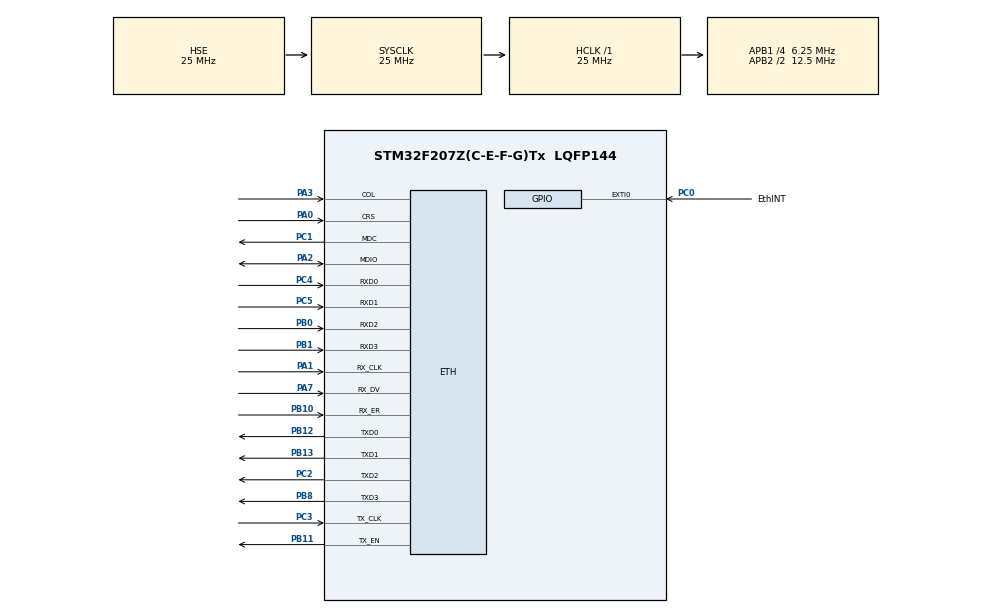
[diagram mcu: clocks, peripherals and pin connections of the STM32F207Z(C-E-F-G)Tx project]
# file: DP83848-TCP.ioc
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ETH.MediaInterface=ETH_MEDIA_INTERFACE_MII
LWIP.GATEWAY_ADDRESS=192.168.001.001
LWIP.IP_ADDRESS=192.168.001.011
LWIP.LWIP_DHCP=1
LWIP.LWIP_HTTPD=1
LWIP.LWIP_HTTPD_CGI=1
LWIP.LWIP_HTTPD_SSI=1
LWIP.MEMP_NUM_TCP_SEG=24
LWIP.NETMASK_ADDRESS=255.255.255.000
LWIP.TCP_MSS=460
LWIP.TCP_SND_BUF=1840
LWIP.TCP_WND=2048
LWIP.Version=v2.0.0_Cube
Mcu.Family=STM32F2
Mcu.Name=STM32F207Z(C-E-F-G)Tx
Mcu.Package=LQFP144
NVIC.EXTI0_IRQn=true\:0\:0\:false\:false\:true\:true
NVIC.PriorityGroup=NVIC_PRIORITYGROUP_4
NVIC.TIM2_IRQn=true\:0\:0\:false\:false\:true\:true
PA0-WKUP.Mode=MII
PA0-WKUP.Signal=ETH_CRS
PA1.Mode=MII
PA1.Signal=ETH_RX_CLK
PA13.Mode=Serial_Wire
PA13.Signal=SYS_JTMS-SWDIO
PA14.Mode=Serial_Wire
PA14.Signal=SYS_JTCK-SWCLK
PA2.Mode=MII
PA2.Signal=ETH_MDIO
PA3.Mode=MII
PA3.Signal=ETH_COL
PA7.Mode=MII
PA7.Signal=ETH_RX_DV
PB0.Mode=MII
PB0.Signal=ETH_RXD2
PB1.Mode=MII
PB1.Signal=ETH_RXD3
PB10.Mode=Activate Rx Err signal
PB10.Signal=ETH_RX_ER
PB11.Mode=MII
PB11.Signal=ETH_TX_EN
PB12.Mode=MII
PB12.Signal=ETH_TXD0
PB13.Mode=MII
PB13.Signal=ETH_TXD1
PB8.Mode=MII
PB8.Signal=ETH_TXD3
PC0.GPIO_Label=EthINT
PC0.GPIO_ModeDefaultEXTI=GPIO_MODE_IT_RISING_FALLING
PC0.Signal=GPXTI0
PC1.Mode=MII
PC1.Signal=ETH_MDC
PC2.Mode=MII
PC2.Signal=ETH_TXD2
PC3.Mode=MII
PC3.Signal=ETH_TX_CLK
PC4.Mode=MII
PC4.Signal=ETH_RXD0
PC5.Mode=MII
PC5.Signal=ETH_RXD1
PH0-OSC_IN.Mode=HSE-External-Oscillator
PH0-OSC_IN.Signal=RCC_OSC_IN
PH1-OSC_OUT.Mode=HSE-External-Oscillator
PH1-OSC_OUT.Signal=RCC_OSC_OUT
ProjectManager.HeapSize=0x2000
ProjectManager.StackSize=0x4000
ProjectManager.TargetToolchain=MDK-ARM V5
RCC.48MHZClocksFreq_Value=60000000
RCC.AHBFreq_Value=25000000
RCC.APB1CLKDivider=RCC_HCLK_DIV4
RCC.APB1Freq_Value=6250000
RCC.APB1TimFreq_Value=12500000
RCC.APB2CLKDivider=RCC_HCLK_DIV2
RCC.APB2Freq_Value=12500000
RCC.APB2TimFreq_Value=25000000
RCC.CortexFreq_Value=25000000
RCC.HCLKFreq_Value=25000000
RCC.HSE_VALUE=25000000
RCC.HSI_VALUE=16000000
RCC.LSE_VALUE=32768
RCC.PLLM=13
RCC.PLLN=195
RCC.SYSCLKFreq_VALUE=25000000
RCC.SYSCLKSource=RCC_SYSCLKSOURCE_HSE
RCC.VCOOutputFreq_Value=240000000
TIM2.Period=1000
TIM2.Prescaler=29999
TIM2.TIM_MasterOutputTrigger=TIM_TRGO_UPDATE
VP_LWIP_VS_Enabled.Mode=Enabled
VP_TIM2_VS_ClockSourceINT.Mode=Internal
board=custom

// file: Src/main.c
/**
  ******************************************************************************
  * @file           : main.c
  * @brief          : Main program body
  ******************************************************************************
  * This notice applies to any and all portions of this file
  * that are not between comment pairs USER CODE BEGIN and
  * USER CODE END. Other portions of this file, whether
  * inserted by the user or by software development tools
  * are owned by their respective copyright owners.
  *
  * Copyright (c) 2018 STMicroelectronics International N.V.
  * All rights reserved.
  *
  * Redistribution and use in source and binary forms, with or without
  * modification, are permitted, provided that the following conditions are met:
  *
  * 1. Redistribution of source code must retain the above copyright notice,
  *    this list of conditions and the following disclaimer.
  * 2. Redistributions in binary form must reproduce the above copyright notice,
  *    this list of conditions and the following disclaimer in the documentation
  *    and/or other materials provided with the distribution.
  * 3. Neither the name of STMicroelectronics nor the names of other
  *    contributors to this software may be used to endorse or promote products
  *    derived from this software without specific written permission.
  * 4. This software, including modifications and/or derivative works of this
  *    software, must execute solely and exclusively on microcontroller or
  *    microprocessor devices manufactured by or for STMicroelectronics.
  * 5. Redistribution and use of this software other than as permitted under
  *    this license is void and will automatically terminate your rights under
  *    this license.
  *
  * THIS SOFTWARE IS PROVIDED BY STMICROELECTRONICS AND CONTRIBUTORS "AS IS"
  * AND ANY EXPRESS, IMPLIED OR STATUTORY WARRANTIES, INCLUDING, BUT NOT
  * LIMITED TO, THE IMPLIED WARRANTIES OF MERCHANTABILITY, FITNESS FOR A
  * PARTICULAR PURPOSE AND NON-INFRINGEMENT OF THIRD PARTY INTELLECTUAL PROPERTY
  * RIGHTS ARE DISCLAIMED TO THE FULLEST EXTENT PERMITTED BY LAW. IN NO EVENT
  * SHALL STMICROELECTRONICS OR CONTRIBUTORS BE LIABLE FOR ANY DIRECT, INDIRECT,
  * INCIDENTAL, SPECIAL, EXEMPLARY, OR CONSEQUENTIAL DAMAGES (INCLUDING, BUT NOT
  * LIMITED TO, PROCUREMENT OF SUBSTITUTE GOODS OR SERVICES; LOSS OF USE, DATA,
  * OR PROFITS; OR BUSINESS INTERRUPTION) HOWEVER CAUSED AND ON ANY THEORY OF
  * LIABILITY, WHETHER IN CONTRACT, STRICT LIABILITY, OR TORT (INCLUDING
  * NEGLIGENCE OR OTHERWISE) ARISING IN ANY WAY OUT OF THE USE OF THIS SOFTWARE,
  * EVEN IF ADVISED OF THE POSSIBILITY OF SUCH DAMAGE.
  *
  ******************************************************************************
  */
#include "main.h"
#include "stm32f2xx_hal.h"
#include "lwip.h"
#include "tim.h"
#include "gpio.h"

/* USER CODE BEGIN Includes */
#include "net.h"
#include "app_ethernet.h"
#include "app_http.h"
/* USER CODE END Includes */

/* USER CODE BEGIN PV */
/* Private variables ---------------------------------------------------------*/
extern struct netif gnetif;

//uint32_t ETH_status;
/* USER CODE END PV */

void SystemClock_Config(void);

/* USER CODE BEGIN PFP */
/* Private function prototypes -----------------------------------------------*/

/* USER CODE END PFP */

/* USER CODE BEGIN 0 */
void Button_Init(void)
{
	GPIO_InitTypeDef GPIO_InitStruct;
	__HAL_RCC_GPIOG_CLK_ENABLE();
	__HAL_RCC_GPIOB_CLK_ENABLE();

	GPIO_InitStruct.Pin = GPIO_PIN_8;
	GPIO_InitStruct.Speed = GPIO_SPEED_FREQ_LOW;
	GPIO_InitStruct.Pull = GPIO_NOPULL;
	GPIO_InitStruct.Mode = GPIO_MODE_INPUT;

	HAL_GPIO_Init(GPIOG, &GPIO_InitStruct);
}
/* USER CODE END 0 */

int main(void)
{
  /* USER CODE BEGIN 1 */

	char str[30] = {"Hello from mk! \r\n"};
	uint8_t data_sent =  1;
	uint8_t sending_accepted = 0;
  /* USER CODE END 1 */

  /* MCU Configuration----------------------------------------------------------*/

  /* Reset of all peripherals, Initializes the Flash interface and the Systick. */
  HAL_Init();

  /* Configure the system clock */
  SystemClock_Config();

  /* Initialize all configured peripherals */
  MX_GPIO_Init();
  MX_TIM2_Init();
  MX_LWIP_Init();
  /* USER CODE BEGIN 2 */
	Button_Init();
	tcp_server_init();
	httpd_init();
	//http RX TX
	SSI_Init();
	CGI_Init();
	//net status
	User_notification(&gnetif);
  /* USER CODE END 2 */

  /* Infinite loop */
  /* USER CODE BEGIN WHILE */
  while (1)
  {
		ethernetif_input(&gnetif);
		sys_check_timeouts();
		DHCP_Periodic_Handle(&gnetif);

		//checking link state for accepting sending data
		if (User_notification(&gnetif))
			sending_accepted = 1;
		else
			sending_accepted = 0;
		//send data if button is pressed
		if (HAL_GPIO_ReadPin(GPIOG, GPIO_PIN_8) == GPIO_PIN_RESET && data_sent == 0 && sending_accepted)
		{
			data_sent = 1;
			sendstring(str);
		}
		else if (HAL_GPIO_ReadPin(GPIOG, GPIO_PIN_8) == GPIO_PIN_SET && data_sent)
			data_sent = 0;

		//ETH_status = netif_is_up(&gnetif);
  /* USER CODE END WHILE */

  }

}

void SystemClock_Config(void)
{

  RCC_OscInitTypeDef RCC_OscInitStruct;
  RCC_ClkInitTypeDef RCC_ClkInitStruct;

    /**Initializes the CPU, AHB and APB busses clocks
    */
  RCC_OscInitStruct.OscillatorType = RCC_OSCILLATORTYPE_HSE;
  RCC_OscInitStruct.HSEState = RCC_HSE_ON;
  RCC_OscInitStruct.PLL.PLLState = RCC_PLL_NONE;
  if (HAL_RCC_OscConfig(&RCC_OscInitStruct) != HAL_OK)
  {
    _Error_Handler(__FILE__, __LINE__);
  }

    /**Initializes the CPU, AHB and APB busses clocks
    */
  RCC_ClkInitStruct.ClockType = RCC_CLOCKTYPE_HCLK|RCC_CLOCKTYPE_SYSCLK
                              |RCC_CLOCKTYPE_PCLK1|RCC_CLOCKTYPE_PCLK2;
  RCC_ClkInitStruct.SYSCLKSource = RCC_SYSCLKSOURCE_HSE;
  RCC_ClkInitStruct.AHBCLKDivider = RCC_SYSCLK_DIV1;
  RCC_ClkInitStruct.APB1CLKDivider = RCC_HCLK_DIV4;
  RCC_ClkInitStruct.APB2CLKDivider = RCC_HCLK_DIV2;

  if (HAL_RCC_ClockConfig(&RCC_ClkInitStruct, FLASH_LATENCY_0) != HAL_OK)
  {
    _Error_Handler(__FILE__, __LINE__);
  }

    /**Configure the Systick interrupt time
    */
  HAL_SYSTICK_Config(HAL_RCC_GetHCLKFreq()/1000);

    /**Configure the Systick
    */
  HAL_SYSTICK_CLKSourceConfig(SYSTICK_CLKSOURCE_HCLK);

  /* SysTick_IRQn interrupt configuration */
  HAL_NVIC_SetPriority(SysTick_IRQn, 0, 0);
}

void _Error_Handler(char *file, int line)
{
  while(1)
  {
  }
}

/************************ (C) COPYRIGHT STMicroelectronics *****END OF FILE****/
